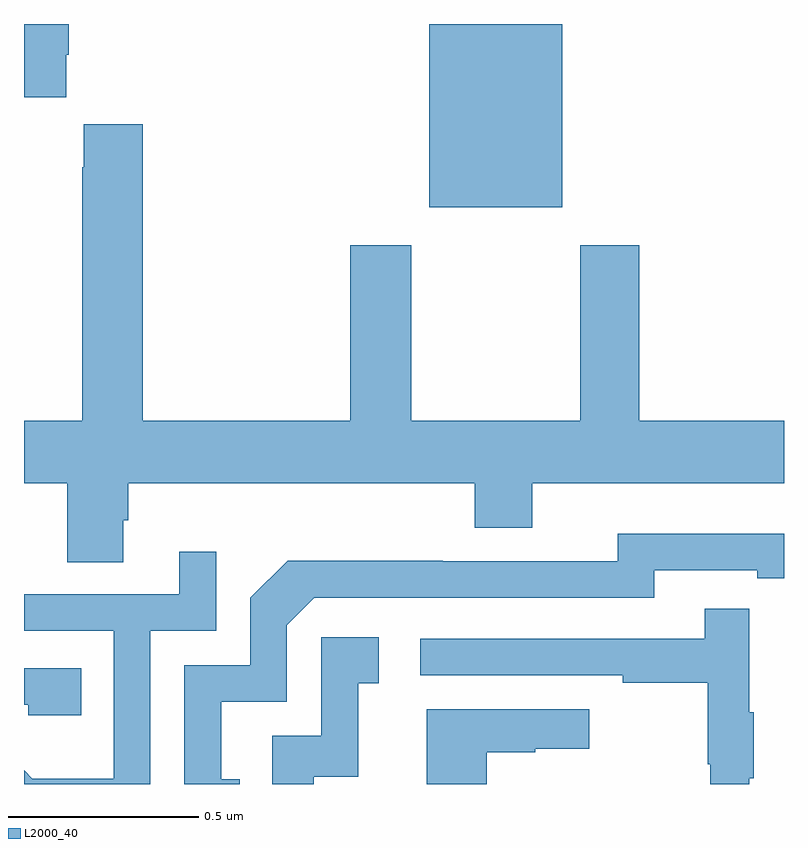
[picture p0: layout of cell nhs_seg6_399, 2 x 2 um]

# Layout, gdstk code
import gdstk
lib = gdstk.Library(unit=1e-6, precision=1e-09)
def R(c, l, rs):  # rectangles x0, y0, x1, y1
    for r in rs: c.add(gdstk.rectangle(r[:2], r[2:], *l))
def P(c, l, *ps):  # polygons
    for p in ps: c.add(gdstk.Polygon(p, *l))
L2000_40 = (2000, 40)

nhs_seg6_399 = lib.new_cell('nhs_seg6_399')
R(nhs_seg6_399, L2000_40, [(116.066,992.018,116.416,992.5)])
P(nhs_seg6_399, L2000_40, [(115.111,992.419),(115.118,992.419),(115.118,992.5),(115,992.5),(115,992.307),(115.111,992.307)],
  [(115.261,991.194),(115.274,991.194),(115.274,991.292),(116.186,991.292),(116.186,991.175),(116.338,991.175),(116.338,991.292),(117,991.292),(117,991.456),(116.619,991.456),(116.619,991.918),(116.464,991.918),(116.464,991.456),(116.019,991.456),(116.019,991.918),(115.859,991.918),(115.859,991.456),(115.313,991.456),(115.313,992.236),(115.157,992.236),(115.157,992.123),(115.153,992.123),(115.153,991.456),(115,991.456),(115,991.292),(115.114,991.292),(115.114,991.084),(115.261,991.084)],
  [(115.568,990.513),(115.519,990.513),(115.519,990.717),(115.692,990.717),(115.692,990.918),(115.764,990.99),(116.658,990.99),(116.658,991.062),(116.93,991.062),(116.93,991.042),(117,991.042),(117,991.158),(116.93,991.158),(116.93,991.159),(116.562,991.159),(116.562,991.086),(116.102,991.086),(116.102,991.088),(115.694,991.088),(115.596,990.99),(115.596,990.813),(115.422,990.813),(115.422,990.5),(115.568,990.5)],
  [(115.332,990.903),(115.506,990.903),(115.506,991.111),(115.409,991.111),(115.409,990.999),(115,990.999),(115,990.903),(115.236,990.903),(115.236,990.514),(115.022,990.514),(115,990.536),(115,990.5),(115.332,990.5)],
  [(116.909,990.515),(116.92,990.515),(116.92,990.689),(116.909,990.689),(116.909,990.961),(116.791,990.961),(116.791,990.882),(116.043,990.882),(116.043,990.786),(116.575,990.786),(116.575,990.766),(116.799,990.766),(116.799,990.552),(116.806,990.552),(116.806,990.5),(116.909,990.5)],
  [(115.762,990.519),(115.88,990.519),(115.88,990.765),(115.933,990.765),(115.933,990.886),(115.782,990.886),(115.782,990.627),(115.653,990.627),(115.653,990.5),(115.762,990.5)],
  [(115.151,990.804),(115,990.804),(115,990.708),(115.011,990.708),(115.011,990.681),(115.151,990.681)],
  [(116.218,990.583),(116.345,990.583),(116.345,990.593),(116.488,990.593),(116.488,990.697),(116.06,990.697),(116.06,990.5),(116.218,990.5)])

lib.write_gds('nhs_seg6_399.gds')
